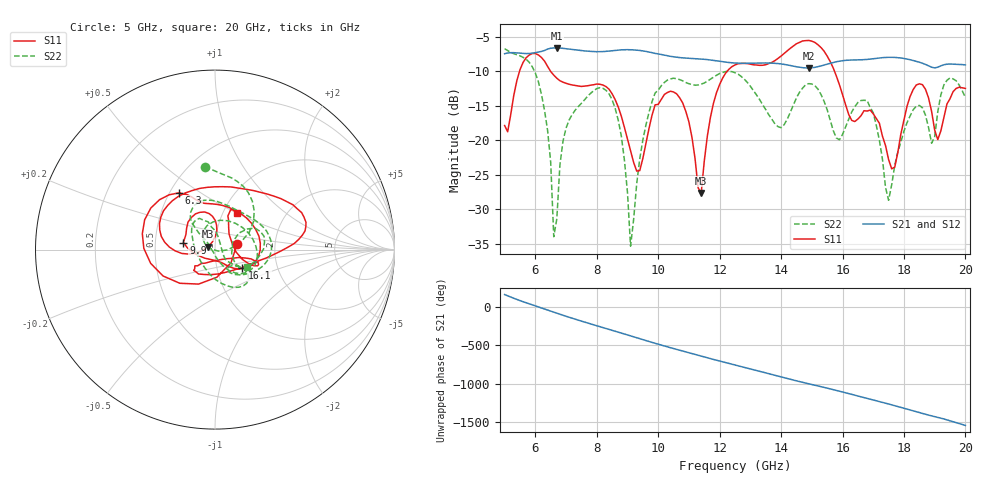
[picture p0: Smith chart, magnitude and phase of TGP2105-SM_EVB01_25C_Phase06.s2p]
! Date: Wednesday, June 05, 2013  1:49 PM
! Filename: C:\Data\Mike_Arnold\TGP2105-SM\Over_Temp\TGP2105-SM_EVB01_25C_Phase6.s2p
! Comments:
!^VDC(V):5.000
!^VDC(mA):0.092
!%Freq(GHz),S11(dB),S11(ang),S21(dB),S21(ang),S12(dB),S12(ang),S22(dB),S22(ang)
# GHz  S  DB  R  50
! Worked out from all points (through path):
!   151 points, 5 GHz to 20 GHz, reference 50 ohm
!   highest |S21| = -6.61 dB at 6.7 GHz (marker M1); lowest = -9.5 dB at 14.9 GHz (marker M2)
!   lowest |S11| = -27.6 dB at 11.4 GHz (marker M3), VSWR 1.09, Z = 46.3 + j1.47 ohm
!   |S11| at or under -10 dB: start of sweep to 5.485 GHz; 6.497 GHz to 12.24 GHz (5.746 GHz wide, 61.3 % of centre); 15.74 GHz to end of sweep
!   |S22| runs from -35.3 to -6.7 dB; largest |S21 - S12| = 0.0021
!   S11 on the Smith chart (normalised r, x): 5 GHz: 1.28, +0.08; 6.3 GHz: 0.56, +0.41; 9.9 GHz: 0.70, +0.06; 16.1 GHz: 1.32, -0.27; 20 GHz: 1.16, +0.50
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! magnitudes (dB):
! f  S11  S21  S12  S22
! 5 GHz  -17.8  -7.4  -7.5  -6.7
! 6.3 GHz  -8.5  -7.0  -7.0  -15.7
! 6.6 GHz  -10.5  -6.6  -6.6  -34.0
! 6.7 GHz  -11.0  -6.6  -6.6  -31.3
! 6.9 GHz  -11.6  -6.7  -6.7  -20.1
! 7.5 GHz  -12.2  -7.0  -7.0  -14.6
! 8.6 GHz  -14.1  -7.0  -7.0  -15.4
! 9.1 GHz  -21.5  -6.9  -6.9  -35.3
! 9.9 GHz  -14.9  -7.4  -7.4  -13.1
! 10 GHz  -14.8  -7.5  -7.5  -12.7
! 10.8 GHz  -14.6  -8.0  -8.1  -11.4
! 11.4 GHz  -27.6  -8.2  -8.2  -11.9
! 12.5 GHz  -9.1  -8.8  -8.8  -10.2
! 14 GHz  -7.8  -8.9  -8.9  -18.2
! 14.9 GHz  -5.5  -9.5  -9.5  -11.8
! 15 GHz  -5.6  -9.5  -9.5  -11.8
! 16.1 GHz  -14.8  -8.4  -8.4  -18.0
! 16.8 GHz  -15.8  -8.3  -8.3  -14.2
! 17.5 GHz  -22.8  -8.0  -8.0  -28.7
! 18.3 GHz  -12.6  -8.4  -8.5  -15.6
! 19.1 GHz  -19.9  -9.4  -9.4  -15.9
! 20 GHz  -12.5  -9.1  -9.1  -13.8
